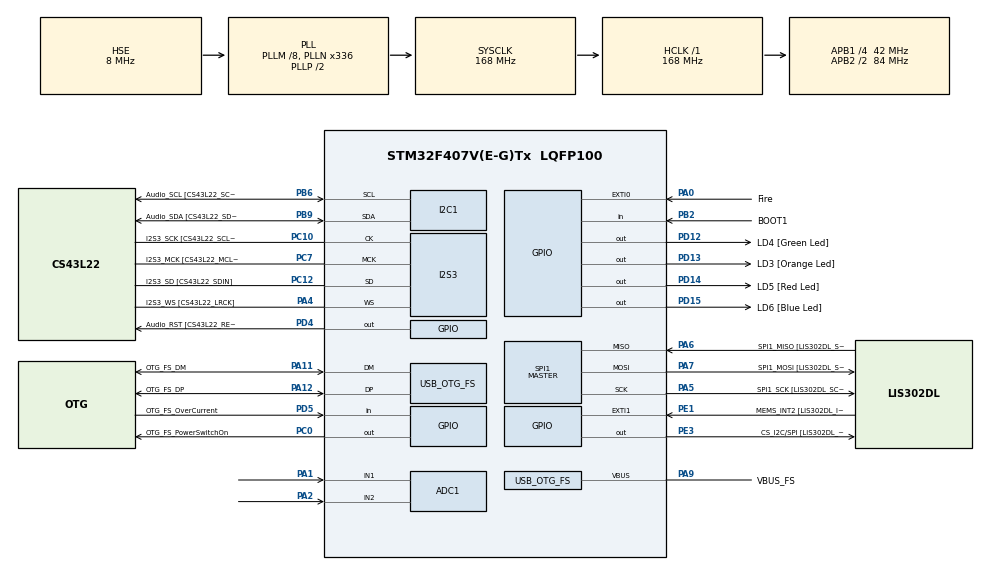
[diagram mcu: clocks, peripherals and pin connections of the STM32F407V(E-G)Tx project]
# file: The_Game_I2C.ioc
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ADC1.Channel-0\#ChannelRegularConversion=ADC_CHANNEL_1
ADC1.Channel-1\#ChannelRegularConversion=ADC_CHANNEL_2
ADC1.ContinuousConvMode=ENABLE
ADC1.DMAContinuousRequests=ENABLE
ADC1.NbrOfConversion=2
ADC1.NbrOfConversionFlag=1
ADC1.Rank-0\#ChannelRegularConversion=1
ADC1.Rank-1\#ChannelRegularConversion=2
ADC1.SamplingTime-0\#ChannelRegularConversion=ADC_SAMPLETIME_480CYCLES
ADC1.SamplingTime-1\#ChannelRegularConversion=ADC_SAMPLETIME_480CYCLES
ADC1.ScanConvMode=ENABLE
ADC1.master=1
Dma.ADC1.0.Direction=DMA_PERIPH_TO_MEMORY
Dma.ADC1.0.FIFOMode=DMA_FIFOMODE_DISABLE
Dma.ADC1.0.Instance=DMA2_Stream0
Dma.ADC1.0.MemDataAlignment=DMA_MDATAALIGN_HALFWORD
Dma.ADC1.0.MemInc=DMA_MINC_ENABLE
Dma.ADC1.0.Mode=DMA_CIRCULAR
Dma.ADC1.0.PeriphDataAlignment=DMA_PDATAALIGN_HALFWORD
Dma.ADC1.0.PeriphInc=DMA_PINC_DISABLE
Dma.ADC1.0.Priority=DMA_PRIORITY_LOW
Dma.I2C1_TX.1.Direction=DMA_MEMORY_TO_PERIPH
Dma.I2C1_TX.1.FIFOMode=DMA_FIFOMODE_DISABLE
Dma.I2C1_TX.1.Instance=DMA1_Stream6
Dma.I2C1_TX.1.MemDataAlignment=DMA_MDATAALIGN_BYTE
Dma.I2C1_TX.1.MemInc=DMA_MINC_ENABLE
Dma.I2C1_TX.1.Mode=DMA_NORMAL
Dma.I2C1_TX.1.PeriphDataAlignment=DMA_PDATAALIGN_BYTE
Dma.I2C1_TX.1.PeriphInc=DMA_PINC_DISABLE
Dma.I2C1_TX.1.Priority=DMA_PRIORITY_LOW
Dma.Request0=ADC1
Dma.Request1=I2C1_TX
I2C1.I2C_Mode=I2C_Fast
I2S3.AudioFreq-Half_Duplex_Master=I2S_AUDIOFREQ_96K
I2S3.ErrorAudioFreq=-2.34 %
I2S3.ErrorAudioFreq-Half_Duplex_Master=0.8 %
I2S3.FullDuplexMode=I2S_FULLDUPLEXMODE_DISABLE
I2S3.Instance=SPI$Index
I2S3.RealAudioFreq=93.75 KHz
I2S3.RealAudioFreq-Half_Duplex_Master=96.774 KHz
I2S3.VirtualMode=I2S_MODE_MASTER
Mcu.Family=STM32F4
Mcu.Name=STM32F407V(E-G)Tx
Mcu.Package=LQFP100
NVIC.DMA1_Stream6_IRQn=true\:0\:0\:false\:false\:true\:false\:true\:true
NVIC.DMA2_Stream0_IRQn=true\:0\:0\:false\:false\:true\:false\:true\:true
NVIC.EXTI0_IRQn=true\:0\:0\:false\:false\:true\:true\:true\:true
NVIC.I2C1_ER_IRQn=true\:0\:0\:false\:false\:true\:true\:true\:true
NVIC.I2C1_EV_IRQn=true\:0\:0\:false\:false\:true\:true\:true\:true
NVIC.OTG_FS_IRQn=true\:0\:0\:false\:false\:true\:true\:true\:true
NVIC.PriorityGroup=NVIC_PRIORITYGROUP_0
PA0-WKUP.GPIO_Label=Fire
PA0-WKUP.GPIO_ModeDefaultEXTI=GPIO_MODE_IT_FALLING
PA0-WKUP.GPIO_PuPd=GPIO_PULLUP
PA0-WKUP.Signal=GPXTI0
PA1.Signal=ADCx_IN1
PA10.GPIO_Label=OTG_FS_ID
PA10.GPIO_Mode=GPIO_MODE_AF_PP
PA10.GPIO_PuPd=GPIO_NOPULL
PA10.GPIO_Speed=GPIO_SPEED_FREQ_LOW
PA10.Signal=USB_OTG_FS_ID
PA11.GPIO_Label=OTG_FS_DM
PA11.GPIO_Mode=GPIO_MODE_AF_PP
PA11.GPIO_PuPd=GPIO_NOPULL
PA11.GPIO_Speed=GPIO_SPEED_FREQ_LOW
PA11.Mode=Host_Only
PA11.Signal=USB_OTG_FS_DM
PA12.GPIO_Label=OTG_FS_DP
PA12.GPIO_Mode=GPIO_MODE_AF_PP
PA12.GPIO_PuPd=GPIO_NOPULL
PA12.GPIO_Speed=GPIO_SPEED_FREQ_LOW
PA12.Mode=Host_Only
PA12.Signal=USB_OTG_FS_DP
PA13.GPIO_Label=SWDIO
PA13.Mode=Serial_Wire
PA13.Signal=SYS_JTMS-SWDIO
PA14.GPIO_Label=SWCLK
PA14.Mode=Serial_Wire
PA14.Signal=SYS_JTCK-SWCLK
PA2.Signal=ADCx_IN2
PA4.GPIO_Label=I2S3_WS [CS43L22_LRCK]
PA4.GPIO_Mode=GPIO_MODE_AF_PP
PA4.GPIO_PuPd=GPIO_NOPULL
PA4.GPIO_Speed=GPIO_SPEED_FREQ_LOW
PA4.Mode=Half_Duplex_Master
PA4.Signal=I2S3_WS
PA5.GPIO_Label=SPI1_SCK [LIS302DL_SCL/SPC]
PA5.GPIO_Mode=GPIO_MODE_AF_PP
PA5.GPIO_PuPd=GPIO_NOPULL
PA5.GPIO_Speed=GPIO_SPEED_FREQ_LOW
PA5.Mode=Full_Duplex_Master
PA5.Signal=SPI1_SCK
PA6.GPIO_Label=SPI1_MISO [LIS302DL_SDO]
PA6.GPIO_Mode=GPIO_MODE_AF_PP
PA6.GPIO_PuPd=GPIO_NOPULL
PA6.GPIO_Speed=GPIO_SPEED_FREQ_LOW
PA6.Mode=Full_Duplex_Master
PA6.Signal=SPI1_MISO
PA7.GPIO_Label=SPI1_MOSI [LIS302DL_SDA/SDI/SDO]
PA7.GPIO_Mode=GPIO_MODE_AF_PP
PA7.GPIO_PuPd=GPIO_NOPULL
PA7.GPIO_Speed=GPIO_SPEED_FREQ_LOW
PA7.Mode=Full_Duplex_Master
PA7.Signal=SPI1_MOSI
PA9.GPIO_Label=VBUS_FS
PA9.GPIO_Mode=GPIO_MODE_INPUT
PA9.GPIO_PuPd=GPIO_NOPULL
PA9.Mode=Activate_VBUS
PA9.Signal=USB_OTG_FS_VBUS
PB10.GPIO_Label=CLK_IN [MP45DT02_CLK]
PB10.GPIO_Mode=GPIO_MODE_AF_PP
PB10.GPIO_PuPd=GPIO_NOPULL
PB10.GPIO_Speed=GPIO_SPEED_FREQ_LOW
PB10.Signal=I2S2_CK
PB2.GPIO_Label=BOOT1
PB2.GPIO_Mode=GPIO_MODE_INPUT
PB2.GPIO_PuPd=GPIO_NOPULL
PB2.Signal=GPIO_Input
PB3.GPIO_Label=SWO
PB3.Signal=SYS_JTDO-SWO
PB6.GPIO_Label=Audio_SCL [CS43L22_SCL]
PB6.GPIO_Mode=GPIO_MODE_AF_OD
PB6.GPIO_Pu=GPIO_PULLUP
PB6.GPIO_PuPd=GPIO_NOPULL
PB6.GPIO_Speed=GPIO_SPEED_FREQ_LOW
PB6.Mode=I2C
PB6.Signal=I2C1_SCL
PB9.GPIO_Label=Audio_SDA [CS43L22_SDA]
PB9.GPIO_Mode=GPIO_MODE_AF_OD
PB9.GPIO_Pu=GPIO_PULLUP
PB9.GPIO_PuPd=GPIO_NOPULL
PB9.GPIO_Speed=GPIO_SPEED_FREQ_LOW
PB9.Mode=I2C
PB9.Signal=I2C1_SDA
PC0.GPIO_Label=OTG_FS_PowerSwitchOn
PC0.GPIO_PuPd=GPIO_NOPULL
PC0.GPIO_Speed=GPIO_SPEED_FREQ_LOW
PC0.PinState=GPIO_PIN_SET
PC0.Signal=GPIO_Output
PC10.GPIO_Label=I2S3_SCK [CS43L22_SCLK]
PC10.GPIO_Mode=GPIO_MODE_AF_PP
PC10.GPIO_PuPd=GPIO_NOPULL
PC10.GPIO_Speed=GPIO_SPEED_FREQ_LOW
PC10.Mode=Half_Duplex_Master
PC10.Signal=I2S3_CK
PC12.GPIO_Label=I2S3_SD [CS43L22_SDIN]
PC12.GPIO_Mode=GPIO_MODE_AF_PP
PC12.GPIO_PuPd=GPIO_NOPULL
PC12.GPIO_Speed=GPIO_SPEED_FREQ_LOW
PC12.Mode=Half_Duplex_Master
PC12.Signal=I2S3_SD
PC14-OSC32_IN.GPIO_Label=PC14-OSC32_IN
PC14-OSC32_IN.Mode=LSE-External-Oscillator
PC14-OSC32_IN.Signal=RCC_OSC32_IN
PC15-OSC32_OUT.GPIO_Label=PC15-OSC32_OUT
PC15-OSC32_OUT.Mode=LSE-External-Oscillator
PC15-OSC32_OUT.Signal=RCC_OSC32_OUT
PC3.GPIO_Label=PDM_OUT [MP45DT02_DOUT]
PC3.GPIO_Mode=GPIO_MODE_AF_PP
PC3.GPIO_PuPd=GPIO_NOPULL
PC3.GPIO_Speed=GPIO_SPEED_FREQ_LOW
PC3.Signal=I2S2_SD
PC7.GPIO_Label=I2S3_MCK [CS43L22_MCLK]
PC7.GPIO_Mode=GPIO_MODE_AF_PP
PC7.GPIO_PuPd=GPIO_NOPULL
PC7.GPIO_Speed=GPIO_SPEED_FREQ_LOW
PC7.Mode=Master_Clock_Activated
PC7.Signal=I2S3_MCK
PD12.GPIO_Label=LD4 [Green Led]
PD12.GPIO_PuPd=GPIO_NOPULL
PD12.GPIO_Speed=GPIO_SPEED_FREQ_LOW
PD12.Signal=GPIO_Output
PD13.GPIO_Label=LD3 [Orange Led]
PD13.GPIO_PuPd=GPIO_NOPULL
PD13.GPIO_Speed=GPIO_SPEED_FREQ_LOW
PD13.Signal=GPIO_Output
PD14.GPIO_Label=LD5 [Red Led]
PD14.GPIO_PuPd=GPIO_NOPULL
PD14.GPIO_Speed=GPIO_SPEED_FREQ_LOW
PD14.Signal=GPIO_Output
PD15.GPIO_Label=LD6 [Blue Led]
PD15.GPIO_PuPd=GPIO_NOPULL
PD15.GPIO_Speed=GPIO_SPEED_FREQ_LOW
PD15.Signal=GPIO_Output
PD4.GPIO_Label=Audio_RST [CS43L22_RESET]
PD4.GPIO_PuPd=GPIO_NOPULL
PD4.GPIO_Speed=GPIO_SPEED_FREQ_LOW
PD4.Signal=GPIO_Output
PD5.GPIO_Label=OTG_FS_OverCurrent
PD5.GPIO_Mode=GPIO_MODE_INPUT
PD5.GPIO_PuPd=GPIO_NOPULL
PD5.Signal=GPIO_Input
PE1.GPIO_Label=MEMS_INT2 [LIS302DL_INT2]
PE1.GPIO_ModeDefaultEXTI=GPIO_MODE_EVT_RISING
PE1.GPIO_PuPd=GPIO_NOPULL
PE1.Signal=GPXTI1
PE3.GPIO_Label=CS_I2C/SPI [LIS302DL_CS_I2C/SPI]
PE3.GPIO_PuPd=GPIO_NOPULL
PE3.GPIO_Speed=GPIO_SPEED_FREQ_LOW
PE3.Signal=GPIO_Output
PH0-OSC_IN.GPIO_Label=PH0-OSC_IN
PH0-OSC_IN.Mode=HSE-External-Oscillator
PH0-OSC_IN.Signal=RCC_OSC_IN
PH1-OSC_OUT.GPIO_Label=PH1-OSC_OUT
PH1-OSC_OUT.Mode=HSE-External-Oscillator
PH1-OSC_OUT.Signal=RCC_OSC_OUT
ProjectManager.HeapSize=0x200
ProjectManager.StackSize=0x400
ProjectManager.TargetToolchain=STM32CubeIDE
RCC.48MHZClocksFreq_Value=48000000
RCC.AHBFreq_Value=168000000
RCC.APB1CLKDivider=RCC_HCLK_DIV4
RCC.APB1Freq_Value=42000000
RCC.APB1TimFreq_Value=84000000
RCC.APB2CLKDivider=RCC_HCLK_DIV2
RCC.APB2Freq_Value=84000000
RCC.APB2TimFreq_Value=168000000
RCC.CortexFreq_Value=168000000
RCC.HCLKFreq_Value=168000000
RCC.HSE_VALUE=8000000
RCC.HSI_VALUE=16000000
RCC.PLLM=8
RCC.PLLN=336
RCC.PLLQ=7
RCC.SYSCLKFreq_VALUE=168000000
RCC.SYSCLKSource=RCC_SYSCLKSOURCE_PLLCLK
RCC.VCOOutputFreq_Value=336000000
SH.ADCx_IN1.0=ADC1_IN1,IN1
SH.ADCx_IN2.0=ADC1_IN2,IN2
SPI1.BaudRatePrescaler-Full_Duplex_Master=SPI_BAUDRATEPRESCALER_2
SPI1.CalculateBaudRate-Full_Duplex_Master=42.0 MBits/s
SPI1.Direction=SPI_DIRECTION_2LINES
SPI1.Mode=SPI_MODE_MASTER
SPI1.Mode-Full_Duplex_Master=SPI_MODE_MASTER
SPI1.VirtualType=VM_MASTER
USB_HOST.BSP.number=1
USB_HOST.USBH_HandleTypeDef-CDC_FS=hUsbHostFS
USB_HOST.VirtualModeFS=Cdc
USB_HOST0.BSP.STBoard=false
USB_HOST0.BSP.api=Unknown
USB_HOST0.BSP.instance=PC0
USB_HOST0.BSP.ip=GPIO
USB_HOST0.BSP.mode=Output
USB_HOST0.BSP.name=Drive_VBUS_FS
USB_HOST0.BSP.solution=PC0
USB_OTG_FS.VirtualMode=Host_Only
USB_OTG_FS.phy_itface=HCD_PHY_EMBEDDED
VP_RNG_VS_RNG.Mode=RNG_Activate
VP_USB_HOST_VS_USB_HOST_CDC_FS.Mode=CDC_FS
board=STM32F407G-DISC1

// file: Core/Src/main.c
/* USER CODE BEGIN Header */
/**
  ******************************************************************************
  * @file           : main.c
  * @brief          : Main program body
  ******************************************************************************
  * @attention
  *
  * Copyright (c) 2026 STMicroelectronics.
  * All rights reserved.
  *
  * This software is licensed under terms that can be found in the LICENSE file
  * in the root directory of this software component.
  * If no LICENSE file comes with this software, it is provided AS-IS.
  *
  ******************************************************************************
  */
/* USER CODE END Header */
#include "main.h"
#include "usb_host.h"
#include <stdio.h>
/* USER CODE BEGIN Includes */
#include "ssd1306_fonts.h"
#include "ssd1306.h"
/* USER CODE END Includes */

/* USER CODE BEGIN PD */
#define MAX_BULLETS 5
#define MAX_ENEMIES 3
/* USER CODE END PD */

ADC_HandleTypeDef hadc1;
DMA_HandleTypeDef hdma_adc1;

I2C_HandleTypeDef hi2c1;
DMA_HandleTypeDef hdma_i2c1_tx;

I2S_HandleTypeDef hi2s3;

RNG_HandleTypeDef hrng;

SPI_HandleTypeDef hspi1;

/* USER CODE BEGIN PV */
	uint16_t adc_values[2];// adc_values[0] = X axis, adc_values[1] = Y axis
	uint8_t player_y = 32;// Our ship's starting Y coordinate (center of the screen)

	typedef struct {
    uint8_t x;
    uint8_t y;
    uint8_t active;
	} Bullet_t;

	Bullet_t bullets[MAX_BULLETS];

	typedef struct {
    int16_t x;
    uint8_t y;
    uint8_t active;
	} Enemy_t;

Enemy_t enemies[MAX_ENEMIES];
uint32_t score = 0;
uint8_t game_over = 0;
/* USER CODE END PV */

void SystemClock_Config(void);
static void MX_GPIO_Init(void);
static void MX_DMA_Init(void);
static void MX_ADC1_Init(void);
static void MX_I2C1_Init(void);
static void MX_I2S3_Init(void);
static void MX_SPI1_Init(void);
static void MX_RNG_Init(void);
void MX_USB_HOST_Process(void);

/* USER CODE BEGIN PFP */
void DrawPlayerShip(uint8_t x, uint8_t y);
void move_ship(void);
void spawn_enemy(void);
void check_collisions(void);
/* USER CODE END PFP */

int main(void)
{

  /* MCU Configuration--------------------------------------------------------*/

  /* Reset of all peripherals, Initializes the Flash interface and the Systick. */
  HAL_Init();

  /* Configure the system clock */
  SystemClock_Config();

  /* Initialize all configured peripherals */
  MX_GPIO_Init();
  MX_DMA_Init();
  MX_ADC1_Init();
  MX_I2C1_Init();
  MX_I2S3_Init();
  MX_SPI1_Init();
  MX_USB_HOST_Init();
  MX_RNG_Init();
  /* USER CODE BEGIN 2 */
  HAL_Delay(100);          // 1. Ekranın uyanmasını bekle
    ssd1306_Init();          // 2. Ekranı başlat (İçinde yavaş metotla temizlik yapar)

    // 3. Ekranın "canlı" olduğunu doğrulamak için yavaş metotla bir kez yazalım
    ssd1306_Fill(Black);
    ssd1306_SetCursor(10, 20);
    ssd1306_WriteString("MOTORLAR ACILDI", Font_7x10, White);
    ssd1306_UpdateScreen();  // <-- POLLING (YAVAŞ) METOT: Ekranın yaşadığını gör

    HAL_Delay(500);          // Yazıyı görmen için kısa bir bekleme

    // 4. ADC (Joystick) motorunu şimdi ateşle
    // Bu komutu verdikten sonra adc_values dizisi arka planda dolmaya başlar
    HAL_ADC_Start_DMA(&hadc1, (uint32_t*)adc_values, 2);
  /* USER CODE END 2 */

  /* Infinite loop */
  while (1)
  {
    MX_USB_HOST_Process();

    /* USER CODE BEGIN 3 */
    if (!game_over) {
              spawn_enemy();     // Yeni düşman üret
              check_collisions(); // Çarpışmaları kontrol et
              move_ship();       // Gemi ve diğer her şeyi hareket ettir/çiz
          } else {
              // GAME OVER EKRANI
              ssd1306_Fill(Black);
              ssd1306_SetCursor(25, 20);
              ssd1306_WriteString("GAME OVER", Font_11x18, White);
              ssd1306_SetCursor(35, 45);
              char final_score[15];
              sprintf(final_score, "SCORE: %lu", score);
              ssd1306_WriteString(final_score, Font_7x10, White);
              ssd1306_UpdateScreen_DMA();
              HAL_Delay(1000); // 1 saniye bekle ve takılı kal
          }
          HAL_Delay(30);
  }
  /* USER CODE END 3 */
}

void SystemClock_Config(void)
{
  RCC_OscInitTypeDef RCC_OscInitStruct = {0};
  RCC_ClkInitTypeDef RCC_ClkInitStruct = {0};

  /** Configure the main internal regulator output voltage
  */
  __HAL_RCC_PWR_CLK_ENABLE();
  __HAL_PWR_VOLTAGESCALING_CONFIG(PWR_REGULATOR_VOLTAGE_SCALE1);

  /** Initializes the RCC Oscillators according to the specified parameters
  * in the RCC_OscInitTypeDef structure.
  */
  RCC_OscInitStruct.OscillatorType = RCC_OSCILLATORTYPE_HSE;
  RCC_OscInitStruct.HSEState = RCC_HSE_ON;
  RCC_OscInitStruct.PLL.PLLState = RCC_PLL_ON;
  RCC_OscInitStruct.PLL.PLLSource = RCC_PLLSOURCE_HSE;
  RCC_OscInitStruct.PLL.PLLM = 8;
  RCC_OscInitStruct.PLL.PLLN = 336;
  RCC_OscInitStruct.PLL.PLLP = RCC_PLLP_DIV2;
  RCC_OscInitStruct.PLL.PLLQ = 7;
  if (HAL_RCC_OscConfig(&RCC_OscInitStruct) != HAL_OK)
  {
    Error_Handler();
  }

  /** Initializes the CPU, AHB and APB buses clocks
  */
  RCC_ClkInitStruct.ClockType = RCC_CLOCKTYPE_HCLK|RCC_CLOCKTYPE_SYSCLK
                              |RCC_CLOCKTYPE_PCLK1|RCC_CLOCKTYPE_PCLK2;
  RCC_ClkInitStruct.SYSCLKSource = RCC_SYSCLKSOURCE_PLLCLK;
  RCC_ClkInitStruct.AHBCLKDivider = RCC_SYSCLK_DIV1;
  RCC_ClkInitStruct.APB1CLKDivider = RCC_HCLK_DIV4;
  RCC_ClkInitStruct.APB2CLKDivider = RCC_HCLK_DIV2;

  if (HAL_RCC_ClockConfig(&RCC_ClkInitStruct, FLASH_LATENCY_5) != HAL_OK)
  {
    Error_Handler();
  }
}

static void MX_ADC1_Init(void)
{

  ADC_ChannelConfTypeDef sConfig = {0};

  /** Configure the global features of the ADC (Clock, Resolution, Data Alignment and number of conversion)
  */
  hadc1.Instance = ADC1;
  hadc1.Init.ClockPrescaler = ADC_CLOCK_SYNC_PCLK_DIV4;
  hadc1.Init.Resolution = ADC_RESOLUTION_12B;
  hadc1.Init.ScanConvMode = ENABLE;
  hadc1.Init.ContinuousConvMode = ENABLE;
  hadc1.Init.DiscontinuousConvMode = DISABLE;
  hadc1.Init.ExternalTrigConvEdge = ADC_EXTERNALTRIGCONVEDGE_NONE;
  hadc1.Init.ExternalTrigConv = ADC_SOFTWARE_START;
  hadc1.Init.DataAlign = ADC_DATAALIGN_RIGHT;
  hadc1.Init.NbrOfConversion = 2;
  hadc1.Init.DMAContinuousRequests = ENABLE;
  hadc1.Init.EOCSelection = ADC_EOC_SINGLE_CONV;
  if (HAL_ADC_Init(&hadc1) != HAL_OK)
  {
    Error_Handler();
  }

  /** Configure for the selected ADC regular channel its corresponding rank in the sequencer and its sample time.
  */
  sConfig.Channel = ADC_CHANNEL_1;
  sConfig.Rank = 1;
  sConfig.SamplingTime = ADC_SAMPLETIME_480CYCLES;
  if (HAL_ADC_ConfigChannel(&hadc1, &sConfig) != HAL_OK)
  {
    Error_Handler();
  }

  /** Configure for the selected ADC regular channel its corresponding rank in the sequencer and its sample time.
  */
  sConfig.Channel = ADC_CHANNEL_2;
  sConfig.Rank = 2;
  if (HAL_ADC_ConfigChannel(&hadc1, &sConfig) != HAL_OK)
  {
    Error_Handler();
  }

}

static void MX_I2C1_Init(void)
{

  hi2c1.Instance = I2C1;
  hi2c1.Init.ClockSpeed = 400000;
  hi2c1.Init.DutyCycle = I2C_DUTYCYCLE_2;
  hi2c1.Init.OwnAddress1 = 0;
  hi2c1.Init.AddressingMode = I2C_ADDRESSINGMODE_7BIT;
  hi2c1.Init.DualAddressMode = I2C_DUALADDRESS_DISABLE;
  hi2c1.Init.OwnAddress2 = 0;
  hi2c1.Init.GeneralCallMode = I2C_GENERALCALL_DISABLE;
  hi2c1.Init.NoStretchMode = I2C_NOSTRETCH_DISABLE;
  if (HAL_I2C_Init(&hi2c1) != HAL_OK)
  {
    Error_Handler();
  }

}

static void MX_I2S3_Init(void)
{

  hi2s3.Instance = SPI3;
  hi2s3.Init.Mode = I2S_MODE_MASTER_TX;
  hi2s3.Init.Standard = I2S_STANDARD_PHILIPS;
  hi2s3.Init.DataFormat = I2S_DATAFORMAT_16B;
  hi2s3.Init.MCLKOutput = I2S_MCLKOUTPUT_ENABLE;
  hi2s3.Init.AudioFreq = I2S_AUDIOFREQ_96K;
  hi2s3.Init.CPOL = I2S_CPOL_LOW;
  hi2s3.Init.ClockSource = I2S_CLOCK_PLL;
  hi2s3.Init.FullDuplexMode = I2S_FULLDUPLEXMODE_DISABLE;
  if (HAL_I2S_Init(&hi2s3) != HAL_OK)
  {
    Error_Handler();
  }

}

static void MX_RNG_Init(void)
{

  hrng.Instance = RNG;
  if (HAL_RNG_Init(&hrng) != HAL_OK)
  {
    Error_Handler();
  }

}

static void MX_SPI1_Init(void)
{

  /* SPI1 parameter configuration*/
  hspi1.Instance = SPI1;
  hspi1.Init.Mode = SPI_MODE_MASTER;
  hspi1.Init.Direction = SPI_DIRECTION_2LINES;
  hspi1.Init.DataSize = SPI_DATASIZE_8BIT;
  hspi1.Init.CLKPolarity = SPI_POLARITY_LOW;
  hspi1.Init.CLKPhase = SPI_PHASE_1EDGE;
  hspi1.Init.NSS = SPI_NSS_SOFT;
  hspi1.Init.BaudRatePrescaler = SPI_BAUDRATEPRESCALER_2;
  hspi1.Init.FirstBit = SPI_FIRSTBIT_MSB;
  hspi1.Init.TIMode = SPI_TIMODE_DISABLE;
  hspi1.Init.CRCCalculation = SPI_CRCCALCULATION_DISABLE;
  hspi1.Init.CRCPolynomial = 10;
  if (HAL_SPI_Init(&hspi1) != HAL_OK)
  {
    Error_Handler();
  }

}

static void MX_DMA_Init(void)
{

  /* DMA controller clock enable */
  __HAL_RCC_DMA2_CLK_ENABLE();
  __HAL_RCC_DMA1_CLK_ENABLE();

  /* DMA interrupt init */
  /* DMA1_Stream6_IRQn interrupt configuration */
  HAL_NVIC_SetPriority(DMA1_Stream6_IRQn, 0, 0);
  HAL_NVIC_EnableIRQ(DMA1_Stream6_IRQn);
  /* DMA2_Stream0_IRQn interrupt configuration */
  HAL_NVIC_SetPriority(DMA2_Stream0_IRQn, 0, 0);
  HAL_NVIC_EnableIRQ(DMA2_Stream0_IRQn);

}

static void MX_GPIO_Init(void)
{
  GPIO_InitTypeDef GPIO_InitStruct = {0};

  /* GPIO Ports Clock Enable */
  __HAL_RCC_GPIOE_CLK_ENABLE();
  __HAL_RCC_GPIOC_CLK_ENABLE();
  __HAL_RCC_GPIOH_CLK_ENABLE();
  __HAL_RCC_GPIOA_CLK_ENABLE();
  __HAL_RCC_GPIOB_CLK_ENABLE();
  __HAL_RCC_GPIOD_CLK_ENABLE();

  /*Configure GPIO pin Output Level */
  HAL_GPIO_WritePin(CS_I2C_SPI_GPIO_Port, CS_I2C_SPI_Pin, GPIO_PIN_RESET);

  /*Configure GPIO pin Output Level */
  HAL_GPIO_WritePin(OTG_FS_PowerSwitchOn_GPIO_Port, OTG_FS_PowerSwitchOn_Pin, GPIO_PIN_SET);

  /*Configure GPIO pin Output Level */
  HAL_GPIO_WritePin(GPIOD, LD4_Pin|LD3_Pin|LD5_Pin|LD6_Pin
                          |Audio_RST_Pin, GPIO_PIN_RESET);

  /*Configure GPIO pin : CS_I2C_SPI_Pin */
  GPIO_InitStruct.Pin = CS_I2C_SPI_Pin;
  GPIO_InitStruct.Mode = GPIO_MODE_OUTPUT_PP;
  GPIO_InitStruct.Pull = GPIO_NOPULL;
  GPIO_InitStruct.Speed = GPIO_SPEED_FREQ_LOW;
  HAL_GPIO_Init(CS_I2C_SPI_GPIO_Port, &GPIO_InitStruct);

  /*Configure GPIO pin : OTG_FS_PowerSwitchOn_Pin */
  GPIO_InitStruct.Pin = OTG_FS_PowerSwitchOn_Pin;
  GPIO_InitStruct.Mode = GPIO_MODE_OUTPUT_PP;
  GPIO_InitStruct.Pull = GPIO_NOPULL;
  GPIO_InitStruct.Speed = GPIO_SPEED_FREQ_LOW;
  HAL_GPIO_Init(OTG_FS_PowerSwitchOn_GPIO_Port, &GPIO_InitStruct);

  /*Configure GPIO pin : PDM_OUT_Pin */
  GPIO_InitStruct.Pin = PDM_OUT_Pin;
  GPIO_InitStruct.Mode = GPIO_MODE_AF_PP;
  GPIO_InitStruct.Pull = GPIO_NOPULL;
  GPIO_InitStruct.Speed = GPIO_SPEED_FREQ_LOW;
  GPIO_InitStruct.Alternate = GPIO_AF5_SPI2;
  HAL_GPIO_Init(PDM_OUT_GPIO_Port, &GPIO_InitStruct);

  /*Configure GPIO pin : Fire_Pin */
  GPIO_InitStruct.Pin = Fire_Pin;
  GPIO_InitStruct.Mode = GPIO_MODE_IT_FALLING;
  GPIO_InitStruct.Pull = GPIO_PULLUP;
  HAL_GPIO_Init(Fire_GPIO_Port, &GPIO_InitStruct);

  /*Configure GPIO pin : BOOT1_Pin */
  GPIO_InitStruct.Pin = BOOT1_Pin;
  GPIO_InitStruct.Mode = GPIO_MODE_INPUT;
  GPIO_InitStruct.Pull = GPIO_NOPULL;
  HAL_GPIO_Init(BOOT1_GPIO_Port, &GPIO_InitStruct);

  /*Configure GPIO pin : CLK_IN_Pin */
  GPIO_InitStruct.Pin = CLK_IN_Pin;
  GPIO_InitStruct.Mode = GPIO_MODE_AF_PP;
  GPIO_InitStruct.Pull = GPIO_NOPULL;
  GPIO_InitStruct.Speed = GPIO_SPEED_FREQ_LOW;
  GPIO_InitStruct.Alternate = GPIO_AF5_SPI2;
  HAL_GPIO_Init(CLK_IN_GPIO_Port, &GPIO_InitStruct);

  /*Configure GPIO pins : LD4_Pin LD3_Pin LD5_Pin LD6_Pin
                           Audio_RST_Pin */
  GPIO_InitStruct.Pin = LD4_Pin|LD3_Pin|LD5_Pin|LD6_Pin
                          |Audio_RST_Pin;
  GPIO_InitStruct.Mode = GPIO_MODE_OUTPUT_PP;
  GPIO_InitStruct.Pull = GPIO_NOPULL;
  GPIO_InitStruct.Speed = GPIO_SPEED_FREQ_LOW;
  HAL_GPIO_Init(GPIOD, &GPIO_InitStruct);

  /*Configure GPIO pin : OTG_FS_OverCurrent_Pin */
  GPIO_InitStruct.Pin = OTG_FS_OverCurrent_Pin;
  GPIO_InitStruct.Mode = GPIO_MODE_INPUT;
  GPIO_InitStruct.Pull = GPIO_NOPULL;
  HAL_GPIO_Init(OTG_FS_OverCurrent_GPIO_Port, &GPIO_InitStruct);

  /*Configure GPIO pin : MEMS_INT2_Pin */
  GPIO_InitStruct.Pin = MEMS_INT2_Pin;
  GPIO_InitStruct.Mode = GPIO_MODE_EVT_RISING;
  GPIO_InitStruct.Pull = GPIO_NOPULL;
  HAL_GPIO_Init(MEMS_INT2_GPIO_Port, &GPIO_InitStruct);

  /* EXTI interrupt init*/
  HAL_NVIC_SetPriority(EXTI0_IRQn, 0, 0);
  HAL_NVIC_EnableIRQ(EXTI0_IRQn);

}

/* USER CODE BEGIN 4 */
// x and y represent the exact center point of the ship
void DrawPlayerShip(uint8_t x, uint8_t y) {
	// Top line of the triangle
    ssd1306_Line(x - 5, y - 5, x + 5, y, White);
    // Bottom line of the triangle
    ssd1306_Line(x - 5, y + 5, x + 5, y, White);
    // Rear (engine) part of the triangle
    ssd1306_Line(x - 5, y - 5, x - 5, y + 5, White);
}

void move_ship(void) {
    if (game_over) return; // Oyun bittiyse hesaplama yapma

    // --- 1. JOYSTICK VERİSİNİ OKU VE FİLTRELE (EKSİK OLAN KISIM) ---
    static uint32_t filter_joy_y = 2048;
    uint16_t joy_y = adc_values[1]; // ADC DMA dizisinden Y eksenini al

    // Filtreleme algoritması (Hareketi yumuşatır)
    filter_joy_y = ((filter_joy_y * 3) + joy_y) >> 2;

    // 0-4095 arası ADC değerini 20-58 arası ekran koordinatına çevir
    player_y = 20 + ((filter_joy_y * 38) / 4095);

    // --- 2. EKRANI TEMİZLE ---
    ssd1306_Fill(Black);

    // --- 3. SKOR VE ARAYÜZÜ ÇİZ ---
    char score_str[15];
    sprintf(score_str, "SCORE: %lu", score);
    ssd1306_SetCursor(2, 2);
    ssd1306_WriteString(score_str, Font_7x10, White);
    ssd1306_Line(0, 15, 127, 15, White); // Üst sınır çizgisi

    // --- 4. MERMİLERİ HAREKET ETTİR VE ÇİZ ---
    for (int i = 0; i < MAX_BULLETS; i++) {
        if (bullets[i].active) {
            bullets[i].x += 5; // Mermi hızı
            if (bullets[i].x > 127) {
                bullets[i].active = 0; // Ekrandan çıkınca pasif yap
            } else {
                // Mermiyi ufak bir çizgi olarak çiz
                ssd1306_Line(bullets[i].x, bullets[i].y, bullets[i].x + 2, bullets[i].y, White);
            }
        }
    }

    // --- 5. DÜŞMANLARI HAREKET ETTİR VE ÇİZ ---
    for (int i = 0; i < MAX_ENEMIES; i++) {
        if (enemies[i].active) {
            enemies[i].x -= 2; // Düşman hızı

            if (enemies[i].x <= 0) {
                game_over = 1; // Düşman sol sınıra çarptı, OYUN BİTTİ!
            } else {
                // Düşmanı minik bir kutu olarak çiz
                ssd1306_DrawRectangle(enemies[i].x, enemies[i].y - 3, enemies[i].x + 6, enemies[i].y + 3, White);
            }
        }
    }

    // --- 6. OYUNCU GEMİSİNİ ÇİZ ---
    DrawPlayerShip(6, player_y);

    // --- 7. TÜM ÇİZİMİ EKRANA GÖNDER ---
    ssd1306_UpdateScreen_DMA();
}

void HAL_GPIO_EXTI_Callback(uint16_t GPIO_Pin) {
    if (GPIO_Pin == Fire_Pin) { // CubeMX'te verdiğin isim (örn: PA0)
        // Boş bir mermi slotu ara
        for (int i = 0; i < MAX_BULLETS; i++) {
            if (bullets[i].active == 0) {
                bullets[i].x = 12;          // Geminin burnu (X=6 + 5-6 piksel)
                bullets[i].y = player_y;    // O anki gemi yüksekliği
                bullets[i].active = 1;      // Mermiyi ateşle!
                break;                      // Sadece 1 mermi slotunu doldur ve çık
            }
        }
    }
}

void spawn_enemy(void) {
    static uint32_t spawn_timer = 0;
    if (++spawn_timer < 40) return;
    spawn_timer = 0;

    for (int i = 0; i < MAX_ENEMIES; i++) {
        if (enemies[i].active == 0) {
            uint32_t random_val;

            HAL_RNG_GenerateRandomNumber(&hrng, &random_val);

            enemies[i].x = 127;
            enemies[i].y = 20 + (random_val % 38);
            enemies[i].active = 1;
            break;
        }
    }
}

void check_collisions(void) {
    for (int i = 0; i < MAX_BULLETS; i++) {
        if (!bullets[i].active) continue;

        for (int j = 0; j < MAX_ENEMIES; j++) {
            if (!enemies[j].active) continue;

            // Basit Kutu Çarpışması (AABB): Mermi ucu düşmanın içindeyse
            if (bullets[i].x >= enemies[j].x && bullets[i].x <= enemies[j].x + 6 &&
                bullets[i].y >= enemies[j].y - 3 && bullets[i].y <= enemies[j].y + 3) {

                bullets[i].active = 0; // Mermi yok olur
                enemies[j].active = 0; // Düşman yok olur
                score++;               // Skor artar
            }
        }
    }
}
/* USER CODE END 4 */

void Error_Handler(void)
{
  __disable_irq();
  while (1)
  {
  }
}
